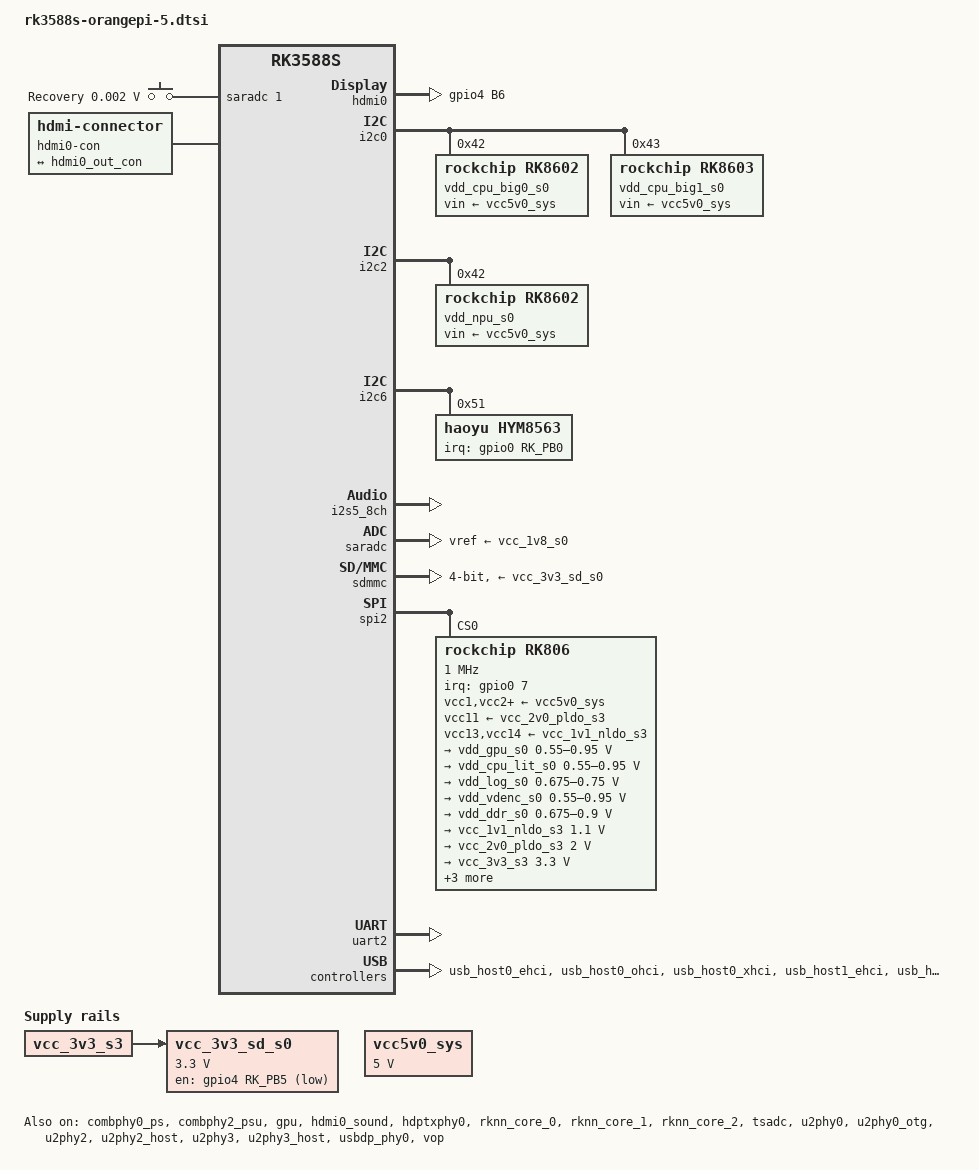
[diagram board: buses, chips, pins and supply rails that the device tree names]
// SPDX-License-Identifier: (GPL-2.0+ OR MIT)

/dts-v1/;

#include <dt-bindings/gpio/gpio.h>
#include <dt-bindings/input/input.h>
#include <dt-bindings/leds/common.h>
#include <dt-bindings/pinctrl/rockchip.h>
#include <dt-bindings/soc/rockchip,vop2.h>
#include "rk3588s.dtsi"

/ {
	chosen {
		stdout-path = "serial2:1500000n8";
	};

	adc-keys {
		compatible = "adc-keys";
		io-channels = <&saradc 1>;
		io-channel-names = "buttons";
		keyup-threshold-microvolt = <1800000>;
		poll-interval = <100>;

		button-recovery {
			label = "Recovery";
			linux,code = <KEY_VENDOR>;
			press-threshold-microvolt = <1800>;
		};
	};

	hdmi0-con {
		compatible = "hdmi-connector";
		type = "a";

		port {
			hdmi0_con_in: endpoint {
				remote-endpoint = <&hdmi0_out_con>;
			};
		};
	};

	vcc_3v3_sd_s0: regulator-vcc-3v3-sd-s0 {
		compatible = "regulator-fixed";
		gpios = <&gpio4 RK_PB5 GPIO_ACTIVE_LOW>;
		regulator-name = "vcc_3v3_sd_s0";
		regulator-boot-on;
		regulator-min-microvolt = <3300000>;
		regulator-max-microvolt = <3300000>;
		vin-supply = <&vcc_3v3_s3>;
	};

	vcc5v0_sys: regulator-vcc5v0-sys {
		compatible = "regulator-fixed";
		regulator-name = "vcc5v0_sys";
		regulator-always-on;
		regulator-boot-on;
		regulator-min-microvolt = <5000000>;
		regulator-max-microvolt = <5000000>;
	};
};

&combphy0_ps {
	status = "okay";
};

&combphy2_psu {
	status = "okay";
};

&cpu_b0 {
	cpu-supply = <&vdd_cpu_big0_s0>;
};

&cpu_b1 {
	cpu-supply = <&vdd_cpu_big0_s0>;
};

&cpu_b2 {
	cpu-supply = <&vdd_cpu_big1_s0>;
};

&cpu_b3 {
	cpu-supply = <&vdd_cpu_big1_s0>;
};

&cpu_l0 {
	cpu-supply = <&vdd_cpu_lit_s0>;
};

&cpu_l1 {
	cpu-supply = <&vdd_cpu_lit_s0>;
};

&cpu_l2 {
	cpu-supply = <&vdd_cpu_lit_s0>;
};

&cpu_l3 {
	cpu-supply = <&vdd_cpu_lit_s0>;
};

&gpu {
	mali-supply = <&vdd_gpu_s0>;
	status = "okay";
};

&hdmi0 {
	frl-enable-gpios = <&gpio4 RK_PB6 GPIO_ACTIVE_LOW>;
	pinctrl-0 = <&hdmim0_tx0_cec &hdmim0_tx0_hpd
		     &hdmim0_tx0_scl &hdmim0_tx0_sda &hdmi0_tx_on_h>;
	pinctrl-names = "default";
	status = "okay";
};

&hdmi0_in {
	hdmi0_in_vp0: endpoint {
		remote-endpoint = <&vp0_out_hdmi0>;
	};
};

&hdmi0_out {
	hdmi0_out_con: endpoint {
		remote-endpoint = <&hdmi0_con_in>;
	};
};

&hdmi0_sound {
	status = "okay";
};

&hdptxphy0 {
	status = "okay";
};

&i2c0 {
	pinctrl-names = "default";
	pinctrl-0 = <&i2c0m2_xfer>;
	status = "okay";

	vdd_cpu_big0_s0: regulator@42 {
		compatible = "rockchip,rk8602";
		reg = <0x42>;
		fcs,suspend-voltage-selector = <1>;
		regulator-name = "vdd_cpu_big0_s0";
		regulator-always-on;
		regulator-boot-on;
		regulator-min-microvolt = <550000>;
		regulator-max-microvolt = <1050000>;
		regulator-ramp-delay = <2300>;
		vin-supply = <&vcc5v0_sys>;

		regulator-state-mem {
			regulator-off-in-suspend;
		};
	};

	vdd_cpu_big1_s0: regulator@43 {
		compatible = "rockchip,rk8603", "rockchip,rk8602";
		reg = <0x43>;
		fcs,suspend-voltage-selector = <1>;
		regulator-name = "vdd_cpu_big1_s0";
		regulator-always-on;
		regulator-boot-on;
		regulator-min-microvolt = <550000>;
		regulator-max-microvolt = <1050000>;
		regulator-ramp-delay = <2300>;
		vin-supply = <&vcc5v0_sys>;

		regulator-state-mem {
			regulator-off-in-suspend;
		};
	};
};

&i2c2 {
	status = "okay";

	vdd_npu_s0: regulator@42 {
		compatible = "rockchip,rk8602";
		reg = <0x42>;
		fcs,suspend-voltage-selector = <1>;
		regulator-name = "vdd_npu_s0";
		regulator-always-on;
		regulator-boot-on;
		regulator-min-microvolt = <550000>;
		regulator-max-microvolt = <950000>;
		regulator-ramp-delay = <2300>;
		vin-supply = <&vcc5v0_sys>;

		regulator-state-mem {
			regulator-off-in-suspend;
		};
	};
};

&i2c6 {
	pinctrl-names = "default";
	pinctrl-0 = <&i2c6m3_xfer>;
	status = "okay";

	hym8563: rtc@51 {
		compatible = "haoyu,hym8563";
		reg = <0x51>;
		#clock-cells = <0>;
		clock-output-names = "hym8563";
		pinctrl-names = "default";
		pinctrl-0 = <&hym8563_int>;
		interrupt-parent = <&gpio0>;
		interrupts = <RK_PB0 IRQ_TYPE_LEVEL_LOW>;
		wakeup-source;
	};
};

&i2s5_8ch {
	status = "okay";
};

&pd_gpu {
	domain-supply = <&vdd_gpu_s0>;
};

&pd_npu {
	domain-supply = <&vdd_npu_s0>;
};

&pinctrl {
	hdmi {
		hdmi0_tx_on_h: hdmi0-tx-on-h {
			rockchip,pins = <4 RK_PB6 RK_FUNC_GPIO &pcfg_pull_none>;
		};
	};

	hym8563 {
		hym8563_int: hym8563-int {
			rockchip,pins = <0 RK_PB0 RK_FUNC_GPIO &pcfg_pull_none>;
		};
	};

	sound {
		hp_detect: hp-detect {
			rockchip,pins = <1 RK_PD5 RK_FUNC_GPIO &pcfg_pull_none>;
		};
	};
};

&rknn_core_0 {
	npu-supply = <&vdd_npu_s0>;
	sram-supply = <&vdd_npu_s0>;
	status = "okay";
};

&rknn_core_1 {
	npu-supply = <&vdd_npu_s0>;
	sram-supply = <&vdd_npu_s0>;
	status = "okay";
};

&rknn_core_2 {
	npu-supply = <&vdd_npu_s0>;
	sram-supply = <&vdd_npu_s0>;
	status = "okay";
};

&rknn_mmu_0 {
	status = "okay";
};

&rknn_mmu_1 {
	status = "okay";
};

&rknn_mmu_2 {
	status = "okay";
};

&saradc {
	vref-supply = <&vcc_1v8_s0>;
	status = "okay";
};

&sdhci {
	bus-width = <8>;
	no-sdio;
	no-sd;
	non-removable;
	max-frequency = <200000000>;
	mmc-hs400-1_8v;
	mmc-hs400-enhanced-strobe;
	status = "disabled";
};

&sdmmc {
	bus-width = <4>;
	cap-sd-highspeed;
	disable-wp;
	max-frequency = <150000000>;
	no-mmc;
	no-sdio;
	sd-uhs-sdr104;
	vmmc-supply = <&vcc_3v3_sd_s0>;
	vqmmc-supply = <&vccio_sd_s0>;
	status = "okay";
};

&sfc {
	pinctrl-names = "default";
	pinctrl-0 = <&fspim0_pins>;
	status = "disabled";

	flash@0 {
		compatible = "jedec,spi-nor";
		reg = <0x0>;
		spi-max-frequency = <100000000>;
		spi-rx-bus-width = <4>;
		spi-tx-bus-width = <1>;
	};
};

&spi2 {
	status = "okay";
	assigned-clocks = <&cru CLK_SPI2>;
	assigned-clock-rates = <200000000>;
	num-cs = <1>;
	pinctrl-names = "default";
	pinctrl-0 = <&spi2m2_cs0 &spi2m2_pins>;

	rk806: pmic@0 {
		compatible = "rockchip,rk806";
		reg = <0x0>;
		interrupt-parent = <&gpio0>;
		interrupts = <7 IRQ_TYPE_LEVEL_LOW>;
		pinctrl-names = "default";
		pinctrl-0 = <&pmic_pins>, <&rk806_dvs1_null>,
				<&rk806_dvs2_null>, <&rk806_dvs3_null>;
		spi-max-frequency = <1000000>;
		system-power-controller;

		vcc1-supply = <&vcc5v0_sys>;
		vcc2-supply = <&vcc5v0_sys>;
		vcc3-supply = <&vcc5v0_sys>;
		vcc4-supply = <&vcc5v0_sys>;
		vcc5-supply = <&vcc5v0_sys>;
		vcc6-supply = <&vcc5v0_sys>;
		vcc7-supply = <&vcc5v0_sys>;
		vcc8-supply = <&vcc5v0_sys>;
		vcc9-supply = <&vcc5v0_sys>;
		vcc10-supply = <&vcc5v0_sys>;
		vcc11-supply = <&vcc_2v0_pldo_s3>;
		vcc12-supply = <&vcc5v0_sys>;
		vcc13-supply = <&vcc_1v1_nldo_s3>;
		vcc14-supply = <&vcc_1v1_nldo_s3>;
		vcca-supply = <&vcc5v0_sys>;

		gpio-controller;
		#gpio-cells = <2>;

		rk806_dvs1_null: dvs1-null-pins {
			pins = "gpio_pwrctrl1";
			function = "pin_fun0";
		};

		rk806_dvs2_null: dvs2-null-pins {
			pins = "gpio_pwrctrl2";
			function = "pin_fun0";
		};

		rk806_dvs3_null: dvs3-null-pins {
			pins = "gpio_pwrctrl3";
			function = "pin_fun0";
		};

		regulators {
			vdd_gpu_s0: dcdc-reg1 {
				regulator-name = "vdd_gpu_s0";
				regulator-boot-on;
				regulator-min-microvolt = <550000>;
				regulator-max-microvolt = <950000>;
				regulator-ramp-delay = <12500>;
				regulator-enable-ramp-delay = <400>;

				regulator-state-mem {
					regulator-off-in-suspend;
				};
			};

			vdd_cpu_lit_s0: dcdc-reg2 {
				regulator-name = "vdd_cpu_lit_s0";
				regulator-always-on;
				regulator-boot-on;
				regulator-min-microvolt = <550000>;
				regulator-max-microvolt = <950000>;
				regulator-ramp-delay = <12500>;

				regulator-state-mem {
					regulator-off-in-suspend;
				};
			};

			vdd_log_s0: dcdc-reg3 {
				regulator-name = "vdd_log_s0";
				regulator-always-on;
				regulator-boot-on;
				regulator-min-microvolt = <675000>;
				regulator-max-microvolt = <750000>;
				regulator-ramp-delay = <12500>;

				regulator-state-mem {
					regulator-off-in-suspend;
					regulator-suspend-microvolt = <750000>;
				};
			};

			vdd_vdenc_s0: dcdc-reg4 {
				regulator-name = "vdd_vdenc_s0";
				regulator-always-on;
				regulator-boot-on;
				regulator-min-microvolt = <550000>;
				regulator-max-microvolt = <950000>;
				regulator-ramp-delay = <12500>;

				regulator-state-mem {
					regulator-off-in-suspend;
				};
			};

			vdd_ddr_s0: dcdc-reg5 {
				regulator-name = "vdd_ddr_s0";
				regulator-always-on;
				regulator-boot-on;
				regulator-min-microvolt = <675000>;
				regulator-max-microvolt = <900000>;
				regulator-ramp-delay = <12500>;

				regulator-state-mem {
					regulator-off-in-suspend;
					regulator-suspend-microvolt = <850000>;
				};
			};

			vcc_1v1_nldo_s3: vdd2_ddr_s3: dcdc-reg6 {
				regulator-name = "vdd2_ddr_s3";
				regulator-always-on;
				regulator-boot-on;
				regulator-max-microvolt = <1100000>;
				regulator-min-microvolt = <1100000>;

				regulator-state-mem {
					regulator-on-in-suspend;
				};
			};

			vcc_2v0_pldo_s3: dcdc-reg7 {
				regulator-name = "vdd_2v0_pldo_s3";
				regulator-always-on;
				regulator-boot-on;
				regulator-min-microvolt = <2000000>;
				regulator-max-microvolt = <2000000>;
				regulator-ramp-delay = <12500>;

				regulator-state-mem {
					regulator-on-in-suspend;
					regulator-suspend-microvolt = <2000000>;
				};
			};

			vcc_3v3_s3: dcdc-reg8 {
				regulator-name = "vcc_3v3_s3";
				regulator-always-on;
				regulator-boot-on;
				regulator-min-microvolt = <3300000>;
				regulator-max-microvolt = <3300000>;

				regulator-state-mem {
					regulator-on-in-suspend;
					regulator-suspend-microvolt = <3300000>;
				};
			};

			vddq_ddr_s0: dcdc-reg9 {
				regulator-name = "vddq_ddr_s0";
				regulator-always-on;
				regulator-boot-on;

				regulator-state-mem {
					regulator-off-in-suspend;
				};
			};

			vcc_1v8_s3: dcdc-reg10 {
				regulator-name = "vcc_1v8_s3";
				regulator-always-on;
				regulator-boot-on;
				regulator-min-microvolt = <1800000>;
				regulator-max-microvolt = <1800000>;

				regulator-state-mem {
					regulator-on-in-suspend;
					regulator-suspend-microvolt = <1800000>;
				};
			};

			vdda_1v2_s0: pldo-reg3 {
				regulator-name = "vdda_1v2_s0";
				regulator-always-on;
				regulator-boot-on;
				regulator-min-microvolt = <1200000>;
				regulator-max-microvolt = <1200000>;

				regulator-state-mem {
					regulator-off-in-suspend;
				};
			};

			vcca_3v3_s0: pldo-reg4 {
				regulator-name = "vcca_3v3_s0";
				regulator-always-on;
				regulator-boot-on;
				regulator-min-microvolt = <3300000>;
				regulator-max-microvolt = <3300000>;
				regulator-ramp-delay = <12500>;

				regulator-state-mem {
					regulator-off-in-suspend;
				};
			};

			vccio_sd_s0: pldo-reg5 {
				regulator-name = "vccio_sd_s0";
				regulator-always-on;
				regulator-boot-on;
				regulator-min-microvolt = <1800000>;
				regulator-max-microvolt = <3300000>;
				regulator-ramp-delay = <12500>;

				regulator-state-mem {
					regulator-off-in-suspend;
				};
			};

			pldo6_s3: pldo-reg6 {
				regulator-name = "pldo6_s3";
				regulator-always-on;
				regulator-boot-on;
				regulator-min-microvolt = <1800000>;
				regulator-max-microvolt = <1800000>;

				regulator-state-mem {
					regulator-on-in-suspend;
					regulator-suspend-microvolt = <1800000>;
				};
			};

			vdd_0v75_s3: nldo-reg1 {
				regulator-name = "vdd_0v75_s3";
				regulator-always-on;
				regulator-boot-on;
				regulator-min-microvolt = <750000>;
				regulator-max-microvolt = <750000>;

				regulator-state-mem {
					regulator-on-in-suspend;
					regulator-suspend-microvolt = <750000>;
				};
			};

			vdd_ddr_pll_s0: nldo-reg2 {
				regulator-name = "vdd_ddr_pll_s0";
				regulator-always-on;
				regulator-boot-on;
				regulator-min-microvolt = <850000>;
				regulator-max-microvolt = <850000>;

				regulator-state-mem {
					regulator-off-in-suspend;
					regulator-suspend-microvolt = <850000>;
				};
			};

			avdd_0v75_s0: nldo-reg3 {
				regulator-name = "avdd_0v75_s0";
				regulator-always-on;
				regulator-boot-on;
				regulator-min-microvolt = <750000>;
				regulator-max-microvolt = <750000>;

				regulator-state-mem {
					regulator-off-in-suspend;
				};
			};

			vdd_0v85_s0: nldo-reg4 {
				regulator-name = "vdd_0v85_s0";
				regulator-always-on;
				regulator-boot-on;
				regulator-min-microvolt = <850000>;
				regulator-max-microvolt = <850000>;

				regulator-state-mem {
					regulator-off-in-suspend;
				};
			};

			vdd_0v75_s0: nldo-reg5 {
				regulator-name = "vdd_0v75_s0";
				regulator-always-on;
				regulator-boot-on;
				regulator-min-microvolt = <750000>;
				regulator-max-microvolt = <750000>;

				regulator-state-mem {
					regulator-off-in-suspend;
				};
			};
		};
	};
};

&tsadc {
	status = "okay";
};

&u2phy0 {
	status = "okay";
};

&u2phy0_otg {
	status = "okay";
};

&u2phy2 {
	status = "okay";
};

&u2phy2_host {
	status = "okay";
};

&u2phy3 {
	status = "okay";
};

&u2phy3_host {
	status = "okay";
};

&uart2 {
	pinctrl-0 = <&uart2m0_xfer>;
	pinctrl-names = "default";
	status = "okay";
};

&usbdp_phy0 {
	status = "okay";
};

&usb_host0_ehci {
	status = "okay";
};

&usb_host0_ohci {
	status = "okay";
};

&usb_host0_xhci {
	status = "okay";
};

&usb_host1_ehci {
	status = "okay";
};

&usb_host1_ohci {
	status = "okay";
};

&vop {
	status = "okay";
};

&vop_mmu {
	status = "okay";
};

&vp0 {
	vp0_out_hdmi0: endpoint@ROCKCHIP_VOP2_EP_HDMI0 {
		reg = <ROCKCHIP_VOP2_EP_HDMI0>;
		remote-endpoint = <&hdmi0_in_vp0>;
	};
};
